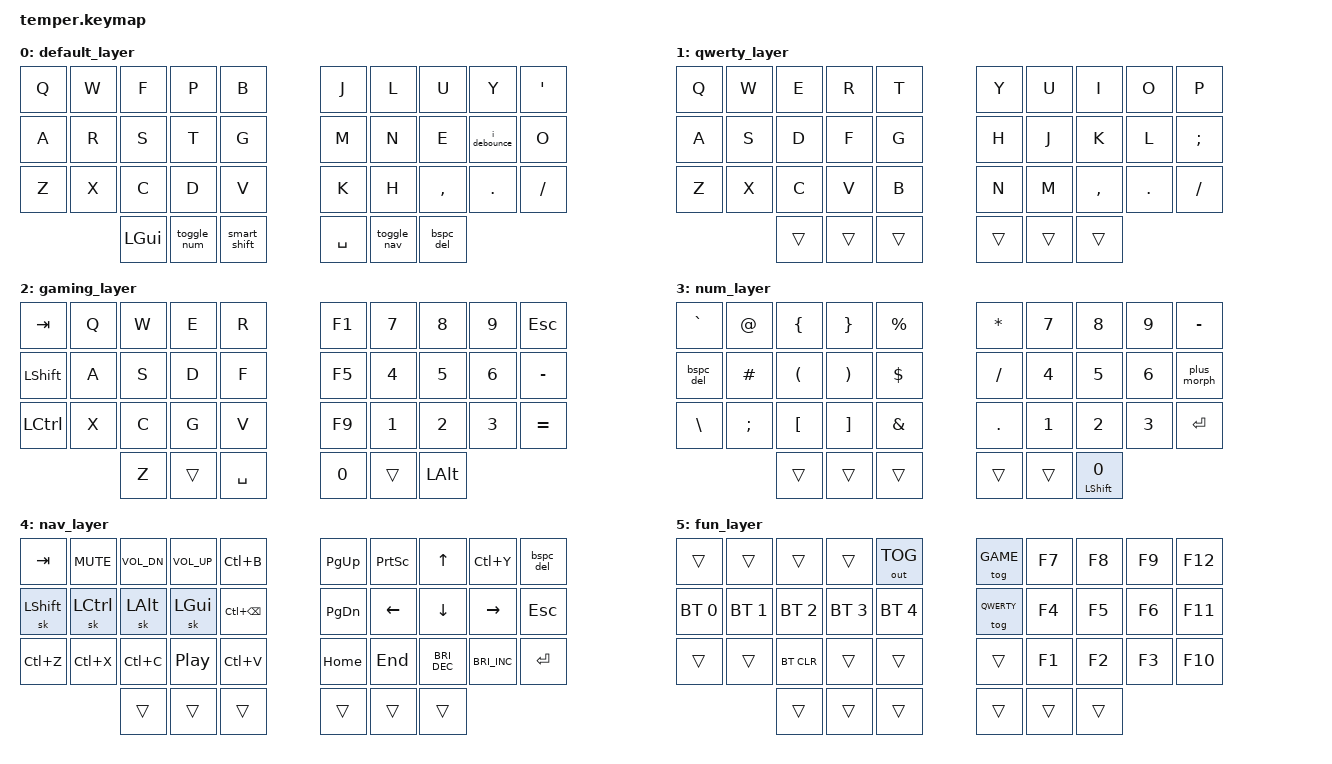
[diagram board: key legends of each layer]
/*
 * Copyright (c) 2020 The ZMK Contributors
 *
 * SPDX-License-Identifier: MIT
 */

#include <behaviors.dtsi>
#include <dt-bindings/zmk/keys.h>
#include <dt-bindings/zmk/bt.h>
#include <dt-bindings/zmk/outputs.h>

#define DEFAULT 0
#define QWERTY 1
#define NUM 3
#define NAV 4
#define FUN 5
#define GAME 2

/ {
    conditional_layers {
        compatible = "zmk,conditional-layers";
        tri_layer {
            if-layers = <NUM NAV>;
            then-layer = <FUN>;
        };
    };
    behaviors {
        bspc_del: backspace_delete {
            compatible = "zmk,behavior-mod-morph";
            label = "BACKSPACE_DELETE";
            #binding-cells = <0>;
            bindings = <&kp BACKSPACE>, <&kp DELETE>;
            mods = <(MOD_LSFT|MOD_RSFT)>;
            keep-mods = <(MOD_RSFT)>;
        };
        smart_shift: smart_shift {
            compatible = "zmk,behavior-tap-dance";
            label = "SMART_SHIFT";
            #binding-cells = <0>;
            tapping-term-ms = <200>;
            bindings = <&kp LSHFT>, <&kp CAPS>;
        };
        comma_semi: comma_semi {
            compatible = "zmk,behavior-mod-morph";
            label = "COMMA_SEMI";
            #binding-cells = <0>;
            bindings = <&kp COMMA>, <&kp SEMI>;
            mods = <(MOD_LSFT)>;
        };
        dot_colon: dot_colon {
            compatible = "zmk,behavior-mod-morph";
            label = "DOT_COLON";
            #binding-cells = <0>;
            bindings = <&kp DOT>, <&kp COLON>;
            mods = <(MOD_LSFT)>;
        };
        qmrk_excl: qmrk_excl {
            compatible = "zmk,behavior-mod-morph";
            label = "QUESTION_EXCLAMATION";
            #binding-cells = <0>;
            bindings = <&kp QMARK>, <&kp EXCL>;
            mods = <(MOD_LSFT)>;
        };
        slh_morph: slh_morph {
            compatible = "zmk,behavior-mod-morph";
            label = "SLASH_MORPH";
            #binding-cells = <0>;
            bindings = <&kp FSLH>, <&kp BSLH>;
            mods = <(MOD_LSFT)>;
        };
        amps_morph: amps_morph {
            compatible = "zmk,behavior-mod-morph";
            label = "AMPERSAND_MORPH";
            #binding-cells = <0>;
            bindings = <&kp AMPS>, <&kp PIPE>;
            mods = <(MOD_LSFT)>;
        };
        toggle_num: toggle_num {
            compatible = "zmk,behavior-tap-dance";
            label = "TOGGLE_NUM";
            #binding-cells = <0>;
            tapping-term-ms = <200>;
            bindings = <&mo NUM>, <&tog NUM>;
        };
        toggle_nav: toggle_nav {
            compatible = "zmk,behavior-tap-dance";
            label = "TOGGLE_NAV";
            #binding-cells = <0>;
            tapping-term-ms = <200>;
            bindings = <&mo NAV>, <&tog NAV>;
        };
        plus_morph: plus_morph {
            compatible = "zmk,behavior-mod-morph";
            label = "PLUS_MORPH";
            #binding-cells = <0>;
            bindings = <&kp PLUS>, <&kp EQUAL>;
            mods = <(MOD_LSFT)>;
        };
        i_debounce: i_debounce {
            compatible = "zmk,behavior-tap-dance";
            label = "I_DEBOUNCE";
            #binding-cells = <0>;
            tapping-term-ms = <50>;
            bindings = <&kp I>, <&kp I>;
        };
    };
        keymap {
                compatible = "zmk,keymap";

                default_layer {
                        bindings = <
// ╭─────────────┬─────────────┬─────────────┬─────────────┬─────────────╮   ╭─────────────┬─────────────┬─────────────┬─────────────┬─────────────╮
        &kp Q         &kp W         &kp F         &kp P         &kp B             &kp J         &kp L         &kp U         &kp Y       &kp APOS   
// ├─────────────┼─────────────┼─────────────┼─────────────┼─────────────┤   ├─────────────┼─────────────┼─────────────┼─────────────┼─────────────┤
        &kp A         &kp R         &kp S         &kp T         &kp G             &kp M         &kp N         &kp E      &i_debounce      &kp O
// ├─────────────┼─────────────┼─────────────┼─────────────┼─────────────┤   ├─────────────┼─────────────┼─────────────┼─────────────┼─────────────┤
        &kp Z         &kp X         &kp C         &kp D         &kp V             &kp K         &kp H       &kp COMMA      &kp DOT      &kp FSLH
// ╰─────────────┴─────────────┼─────────────┼─────────────┼─────────────┤   ├─────────────┼─────────────┼─────────────┼─────────────┴─────────────╯
                                   &kp LGUI    &toggle_num  &smart_shift        &kp SPACE    &toggle_nav    &bspc_del
//                             ╰─────────────┴─────────────┴─────────────╯   ╰─────────────┴─────────────┴─────────────╯
                        >;
                };

                qwerty_layer {
                        bindings = <
// ╭─────────────┬─────────────┬─────────────┬─────────────┬─────────────╮   ╭─────────────┬─────────────┬─────────────┬─────────────┬─────────────╮
        &kp Q         &kp W         &kp E         &kp R         &kp T              &kp Y        &kp U         &kp I         &kp O         &kp P   
// ├─────────────┼─────────────┼─────────────┼─────────────┼─────────────┤   ├─────────────┼─────────────┼─────────────┼─────────────┼─────────────┤
        &kp A         &kp S         &kp D         &kp F         &kp G              &kp H        &kp J         &kp K         &kp L       &kp SEMI
// ├─────────────┼─────────────┼─────────────┼─────────────┼─────────────┤   ├─────────────┼─────────────┼─────────────┼─────────────┼─────────────┤
        &kp Z         &kp X         &kp C         &kp V         &kp B              &kp N        &kp M       &kp COMMA      &kp DOT      &kp SLASH
// ╰─────────────┴─────────────┼─────────────┼─────────────┼─────────────┤   ├─────────────┼─────────────┼─────────────┼─────────────┴─────────────╯
                                    &trans        &trans        &trans             &trans       &trans        &trans
//                             ╰─────────────┴─────────────┴─────────────╯   ╰─────────────┴─────────────┴─────────────╯
                        >;
                };

                gaming_layer {
                        bindings = <
// ╭─────────────┬─────────────┬─────────────┬─────────────┬─────────────╮   ╭─────────────┬─────────────┬─────────────┬─────────────┬─────────────╮
       &kp TAB        &kp Q         &kp W         &kp E         &kp R             &kp F1       &kp N7         &kp N8        &kp N9       &kp ESC   
// ├─────────────┼─────────────┼─────────────┼─────────────┼─────────────┤   ├─────────────┼─────────────┼─────────────┼─────────────┼─────────────┤
      &kp LSHFT       &kp A         &kp S         &kp D         &kp F             &kp F5       &kp N4         &kp N5        &kp N6      &kp MINUS
// ├─────────────┼─────────────┼─────────────┼─────────────┼─────────────┤   ├─────────────┼─────────────┼─────────────┼─────────────┼─────────────┤
      &kp LCTRL       &kp X         &kp C         &kp G         &kp V             &kp F9       &kp N1         &kp N2        &kp N3      &kp EQUAL
// ╰─────────────┴─────────────┼─────────────┼─────────────┼─────────────┤   ├─────────────┼─────────────┼─────────────┼─────────────┴─────────────╯
                                    &kp Z        &trans       &kp SPACE           &kp N0       &trans       &kp LALT
//                             ╰─────────────┴─────────────┴─────────────╯   ╰─────────────┴─────────────┴─────────────╯
                        >;
                };

                num_layer {
                        bindings = <
// ╭─────────────┬─────────────┬─────────────┬─────────────┬─────────────╮   ╭─────────────┬─────────────┬─────────────┬─────────────┬─────────────╮
      &kp GRAVE      &kp AT        &kp LBRC      &kp RBRC     &kp PRCNT          &kp STAR       &kp N7        &kp N8        &kp N9      &kp MINUS
// ├─────────────┼─────────────┼─────────────┼─────────────┼─────────────┤   ├─────────────┼─────────────┼─────────────┼─────────────┼─────────────┤
      &bspc_del      &kp HASH      &kp LPAR      &kp RPAR     &kp DLLR           &kp SLASH      &kp N4        &kp N5        &kp N6     &plus_morph
// ├─────────────┼─────────────┼─────────────┼─────────────┼─────────────┤   ├─────────────┼─────────────┼─────────────┼─────────────┼─────────────┤
      &kp BSLH       &kp SEMI      &kp LBKT      &kp RBKT     &kp AMPS           &kp DOT        &kp N1        &kp N2        &kp N3     &kp ENTER
// ╰─────────────┴─────────────┼─────────────┼─────────────┼─────────────┤   ├─────────────┼─────────────┼─────────────┼─────────────┴─────────────╯
                                    &trans        &trans        &trans           &trans         &trans    &mt LSHFT N0
//                             ╰─────────────┴─────────────┴─────────────╯   ╰─────────────┴─────────────┴─────────────╯
                        >;
                };

                nav_layer {
                        bindings = <
// ╭─────────────┬─────────────┬─────────────┬─────────────┬─────────────╮   ╭─────────────┬─────────────┬─────────────┬─────────────┬─────────────╮
       &kp TAB     &kp C_MUTE   &kp C_VOL_DN   &kp C_VOL_UP   &kp LC(B)         &kp PG_UP     &kp PSCRN      &kp UP       &kp LC(Y)     &bspc_del
// ├─────────────┼─────────────┼─────────────┼─────────────┼─────────────┤   ├─────────────┼─────────────┼─────────────┼─────────────┼─────────────┤
      &sk LSHFT     &sk LCTRL      &sk LALT      &sk LGUI  &kp LC(BACKSPACE)    &kp PG_DN      &kp LEFT      &kp DOWN      &kp RIGHT      &kp ESC
// ├─────────────┼─────────────┼─────────────┼─────────────┼─────────────┤   ├─────────────┼─────────────┼─────────────┼─────────────┼─────────────┤
      &kp LC(Z)    &kp LC(X)      &kp LC(C)  &kp C_PLAY_PAUSE  &kp LC(V)        &kp HOME       &kp END    &kp C_BRI_DEC &kp C_BRI_INC   &kp ENTER
// ╰─────────────┴─────────────┼─────────────┼─────────────┼─────────────┤   ├─────────────┼─────────────┼─────────────┼─────────────┴─────────────╯
                                    &trans        &trans        &trans            &trans       &trans        &trans
//                             ╰─────────────┴─────────────┴─────────────╯   ╰─────────────┴─────────────┴─────────────╯
                        >;
                };

                fun_layer {
                        bindings = <
// ╭─────────────┬─────────────┬─────────────┬─────────────┬─────────────╮   ╭─────────────┬─────────────┬─────────────┬─────────────┬─────────────╮
       &trans        &trans        &trans        &trans     &out OUT_TOG        &tog GAME       &kp F7        &kp F8        &kp F9       &kp F12
// ├─────────────┼─────────────┼─────────────┼─────────────┼─────────────┤   ├─────────────┼─────────────┼─────────────┼─────────────┼─────────────┤
     &bt BT_SEL 0  &bt BT_SEL 1  &bt BT_SEL 2  &bt BT_SEL 3  &bt BT_SEL 4      &tog QWERTY      &kp F4        &kp F5        &kp F6       &kp F11
// ├─────────────┼─────────────┼─────────────┼─────────────┼─────────────┤   ├─────────────┼─────────────┼─────────────┼─────────────┼─────────────┤
        &trans        &trans      &bt BT_CLR      &trans        &trans            &trans        &kp F1        &kp F2        &kp F3       &kp F10
// ╰─────────────┴─────────────┼─────────────┼─────────────┼─────────────┤   ├─────────────┼─────────────┼─────────────┼─────────────┴─────────────╯
                                    &trans        &trans        &trans           &trans        &trans        &trans
//                             ╰─────────────┴─────────────┴─────────────╯   ╰─────────────┴─────────────┴─────────────╯
                        >;
                };
        };
};
